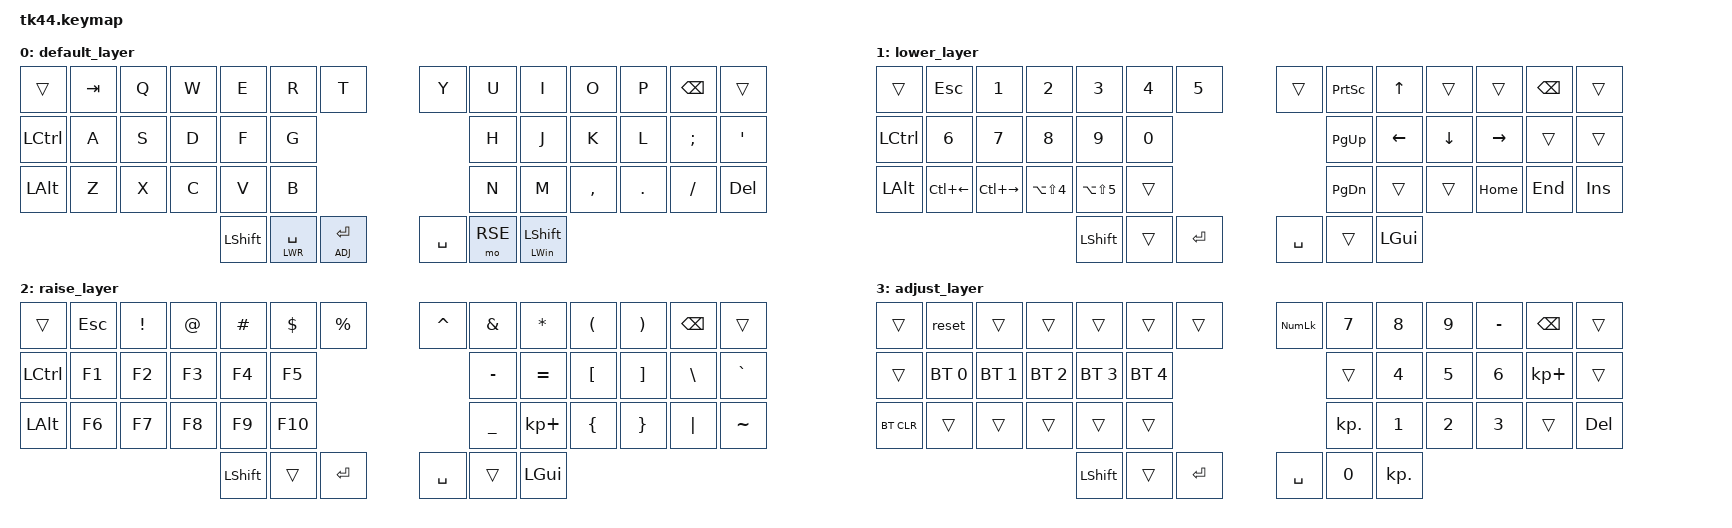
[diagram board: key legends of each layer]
/*
 * Copyright (c) 2022 The ZMK Contributors
 *
 * SPDX-License-Identifier: MIT
 */

#include <behaviors.dtsi>
#include <dt-bindings/zmk/keys.h>
#include <dt-bindings/zmk/bt.h>

#define DEF 0
#define LWR 1
#define RSE 2
#define ADJ 3

&lt { quick_tap_ms = <200>; };
&mt { quick_tap_ms = <200>; };

/ {
        keymap {
                compatible = "zmk,keymap";

                default_layer {
// -----------------------------------------------------------------------------------------
// |  GUI |   ~  |  Q  |  W  |  E  |  R  |  T  |   |  Y  |  U   |  I  |  O  |  P  |  [   | GUI/] |
//        | CTRL |  A  |  S  |  D  |  F  |  G  |   |  H  |  J   |  K  |  L  |  ;  |CTRL/'|
//        | LALT |  Z  |  X  |  C  |  V  |  B  |   |  N  |  M   |  ,  |  .  |  /  | RALT |
//                           | RSE | SPC | LWR |   | LWR | BKSP | RSE |
                        bindings = <
     &trans &kp TAB    &kp Q  &kp W  &kp E  &kp R  &kp T                  &kp Y  &kp U  &kp I      &kp O    &kp P     &kp BSPC &trans
     &kp LCTRL  &kp A  &kp S  &kp D  &kp F  &kp G                  &kp H  &kp J  &kp K      &kp L    &kp SEMI  &kp SQT
     &kp LALT   &kp Z  &kp X  &kp C  &kp V  &kp B                  &kp N  &kp M  &kp COMMA  &kp DOT  &kp FSLH  &kp DELETE
           &kp LSHFT  &lt LWR SPACE &lt ADJ ENTER                  &kp SPACE  &mo RSE &mt LWIN LSHFT
                        >;
                };
                lower_layer {
// -----------------------------------------------------------------------------------------
// |     |  _  |  F1 |  F2 |  F3 |  F4 |  F5 |   |  F6 |  F7 |  F8 |  F9 | F10 | F11 | F12 |
//       |  +  |  !  |  @  |  #  |  $  |  %  |   |  ^  |  &  |  *  |  (  |  )  |  -  |
//       |  =  |  1  |  2  |  3  |  4  |  5  |   |  6  |  7  |  8  |  9  |  0  |     |
//                    | GUI |     | SPC |   | ENT |     | ALT |
                        bindings = <
   &trans  &kp ESC     &kp N1           &kp N2           &kp N3                &kp N4                &kp N5             &trans      &kp PSCRN   &kp UP     &trans     &trans   &kp BSPC &trans
   &kp LCTRL   &kp N6           &kp N7           &kp N8                &kp N9                &kp N0             &kp PG_UP   &kp LEFT    &kp DOWN   &kp RIGHT  &trans   &trans
   &kp LALT    &kp LC(LEFT)     &kp LC(RIGHT)    &kp LA(LS(NUMBER_4))  &kp LA(LS(NUMBER_5))  &trans             &kp PG_DN   &trans      &trans     &kp HOME   &kp END  &kp INS
                        &kp LSHFT   &trans    &kp ENTER                                                         &kp SPACE   &trans      &kp LGUI
                        >;
                };

                raise_layer {
// -----------------------------------------------------------------------------------------
// |     | NMLK |  /  |  7  |  8  |  9  |  -  |   | VOLU| HOME| PRSC| PGUP| SCLK| CLCK|     |
//       | CTRL |  *  |  4  |  5  |  6  |  +  |   | MUT | LEFT|  UP | RGHT| INS | APP |
//       |      |  0  |  1  |  2  |  3  |  .  |   | VOLD| END | DOWN| PGDN| PAUS|     |
//                          |     |     | ADJ |   | ADJ |     |     |
                        bindings = <
   &trans &kp ESC   &kp EXCL  &kp AT    &kp HASH  &kp DLLR  &kp PRCNT       &kp CARET    &kp AMPS     &kp STAR   &kp LPAR   &kp RPAR  &kp BSPC &trans
   &kp LCTRL &kp F1    &kp F2    &kp F3    &kp F4    &kp F5          &kp MINUS    &kp EQUAL    &kp LBKT   &kp RBKT   &kp BSLH  &kp GRAVE
   &kp LALT  &kp F6    &kp F7    &kp F8    &kp F9    &kp F10         &kp UNDER    &kp KP_PLUS  &kp LBRC   &kp RBRC   &kp PIPE  &kp TILDE
                              &kp LSHFT   &trans    &kp ENTER        &kp SPACE    &trans       &kp LGUI
                        >;
                };
                adjust_layer {
// -----------------------------------------------------------------------------------------
// | RST | BLDR |     |     |     |     |     |   |     |     |     |     |     | BLDR | RST |
//       | BTCLR| BT0 | BT1 | BT2 | BT3 | BT4 |   | BT4 | BT3 | BT2 | BT1 | BT0 | BTCLR|
//       |      |     |     |     |     |     |   |     |     |     |     |     |      |
//                          |     |     |     |   |     |     |     |
                        bindings = <
   &trans &reset      &trans        &trans        &trans        &trans          &trans            &kp KP_NUM   &kp N7  &kp N8  &kp N9  &kp MINUS    &kp BSPC &trans 
   &trans      &bt BT_SEL 0  &bt BT_SEL 1  &bt BT_SEL 2  &bt BT_SEL 3    &bt BT_SEL 4      &trans       &kp N4  &kp N5  &kp N6  &kp KP_PLUS  &trans
   &bt BT_CLR  &trans        &trans        &trans        &trans          &trans            &kp KP_DOT      &kp N1  &kp N2  &kp N3  &trans       &kp DELETE
                                                &kp LSHFT   &trans    &kp ENTER            &kp SPACE    &kp N0    &kp KP_DOT
                        >;
                };
        };
};
